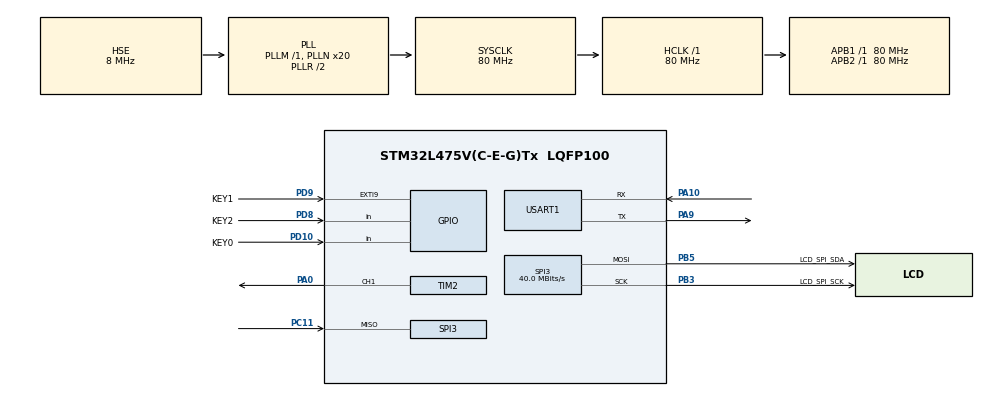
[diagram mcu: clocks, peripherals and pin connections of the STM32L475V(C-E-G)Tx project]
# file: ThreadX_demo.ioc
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Mcu.Family=STM32L4
Mcu.Name=STM32L475V(C-E-G)Tx
Mcu.Package=LQFP100
NVIC.EXTI9_5_IRQn=true\:1\:3\:true\:false\:true\:true\:true
NVIC.PriorityGroup=NVIC_PRIORITYGROUP_1
NVIC.TIM1_UP_TIM16_IRQn=true\:0\:0\:false\:false\:true\:true\:true
NVIC.TIM3_IRQn=true\:0\:0\:false\:false\:true\:true\:true
PA0.Signal=S_TIM2_CH1
PA10.Mode=Asynchronous
PA10.Signal=USART1_RX
PA13\ (JTMS-SWDIO).Mode=Serial_Wire
PA13\ (JTMS-SWDIO).Signal=SYS_JTMS-SWDIO
PA14\ (JTCK-SWCLK).Mode=Serial_Wire
PA14\ (JTCK-SWCLK).Signal=SYS_JTCK-SWCLK
PA9.Mode=Asynchronous
PA9.Signal=USART1_TX
PB3\ (JTDO-TRACESWO).GPIO_Label=LCD_SPI_SCK
PB3\ (JTDO-TRACESWO).Mode=Full_Duplex_Master
PB3\ (JTDO-TRACESWO).Signal=SPI3_SCK
PB5.GPIO_Label=LCD_SPI_SDA
PB5.Mode=Full_Duplex_Master
PB5.Signal=SPI3_MOSI
PC11.Mode=Full_Duplex_Master
PC11.Signal=SPI3_MISO
PD10.GPIO_Label=KEY0
PD10.GPIO_PuPd=GPIO_PULLUP
PD10.Signal=GPIO_Input
PD8.GPIO_Label=KEY2
PD8.GPIO_PuPd=GPIO_PULLUP
PD8.Signal=GPIO_Input
PD9.GPIO_Label=KEY1
PD9.GPIO_ModeDefaultEXTI=GPIO_MODE_IT_FALLING
PD9.GPIO_PuPd=GPIO_PULLUP
PD9.Signal=GPXTI9
PH0-OSC_IN\ (PH0).Mode=HSE-External-Oscillator
PH0-OSC_IN\ (PH0).Signal=RCC_OSC_IN
PH1-OSC_OUT\ (PH1).Mode=HSE-External-Oscillator
PH1-OSC_OUT\ (PH1).Signal=RCC_OSC_OUT
ProjectManager.HeapSize=0x200
ProjectManager.StackSize=0x400
ProjectManager.TargetToolchain=STM32CubeIDE
RCC.ADCFreq_Value=32000000
RCC.AHBFreq_Value=80000000
RCC.APB1Freq_Value=80000000
RCC.APB1TimFreq_Value=80000000
RCC.APB2Freq_Value=80000000
RCC.APB2TimFreq_Value=80000000
RCC.CortexFreq_Value=80000000
RCC.HCLKFreq_Value=80000000
RCC.HSE_VALUE=8000000
RCC.HSI_VALUE=16000000
RCC.LSE_VALUE=32768
RCC.MSI_VALUE=4000000
RCC.PLLN=20
RCC.PLLSourceVirtual=RCC_PLLSOURCE_HSE
RCC.SYSCLKFreq_VALUE=80000000
RCC.SYSCLKSource=RCC_SYSCLKSOURCE_PLLCLK
RCC.USBFreq_Value=32000000
RCC.VCOOutputFreq_Value=160000000
SH.S_TIM2_CH1.0=TIM2_CH1,PWM Generation1 CH1
SPI3.CLKPhase=SPI_PHASE_2EDGE
SPI3.CLKPolarity=SPI_POLARITY_HIGH
SPI3.CalculateBaudRate=40.0 MBits/s
SPI3.DataSize=SPI_DATASIZE_8BIT
SPI3.Direction=SPI_DIRECTION_2LINES
SPI3.Mode=SPI_MODE_MASTER
SPI3.VirtualType=VM_MASTER
TIM1.Period=2000-1
TIM1.Prescaler=40000-1
TIM2.Channel-PWM\ Generation1\ CH1=TIM_CHANNEL_1
TIM2.OC1Preload_PWM=ENABLE
TIM2.OCMode_PWM-PWM\ Generation1\ CH1=TIM_OCMODE_COMBINED_PWM1
TIM2.Period=20000-1
TIM2.Prescaler=40000-1
TIM2.Pulse-PWM\ Generation1\ CH1=10000
TIM3.Period=1000-1
TIM3.Prescaler=40000-1
USART1.VirtualMode-Asynchronous=VM_ASYNC
VP_TIM1_VS_ClockSourceINT.Mode=Internal
VP_TIM2_VS_ClockSourceINT.Mode=Internal
VP_TIM3_VS_ClockSourceINT.Mode=Internal
board=custom

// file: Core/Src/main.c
/* USER CODE BEGIN Header */
/**
 ******************************************************************************
 * @file           : main.c
 * @brief          : Main program body
 ******************************************************************************
 * @attention
 *
 * <h2><center>&copy; Copyright (c) 2020 STMicroelectronics.
 * All rights reserved.</center></h2>
 *
 * This software component is licensed by ST under BSD 3-Clause license,
 * the "License"; You may not use this file except in compliance with the
 * License. You may obtain a copy of the License at:
 *                        opensource.org/licenses/BSD-3-Clause
 *
 ******************************************************************************
 */
/* USER CODE END Header */
#include "main.h"
#include "spi.h"
#include "tim.h"
#include "usart.h"
#include "gpio.h"

/* USER CODE BEGIN Includes */
#include "tx_api.h"
/* USER CODE END Includes */

/* USER CODE BEGIN PV */
TX_THREAD my_thread_1;
TX_THREAD my_thread_2;
TX_THREAD trace_thread;
uint8_t pData[] = "=========ThreadX=========\n";
uint8_t pData1[] = "I am thread1 ";
uint8_t pData2[] = "I am thread2 ";

/* Tracex使用 */
/*跟踪缓冲区的内存大小*/
#define trace_buffer_size 64000
/*要保留在跟踪注册表中的应用程序ThreadX对象的数量*/
#define registry_entries 40
UCHAR trace_buffer_start[trace_buffer_size];
UINT trace_status;
/* USER CODE END PV */

void SystemClock_Config(void);

int main(void)
{

	/* MCU Configuration--------------------------------------------------------*/

	/* Reset of all peripherals, Initializes the Flash interface and the Systick. */
	HAL_Init();

	/* Configure the system clock */
	SystemClock_Config();

	/* Initialize all configured peripherals */
	MX_GPIO_Init();
	MX_USART1_UART_Init();
	MX_TIM1_Init();
	MX_TIM2_Init();
	MX_TIM3_Init();
	MX_SPI3_Init();
	/* USER CODE BEGIN 2 */

	tx_kernel_enter(); //threadx 入口

	/* USER CODE END 2 */

	/* Infinite loop */
	while (1)
	{

	}
}

void SystemClock_Config(void)
{
	RCC_OscInitTypeDef RCC_OscInitStruct =
	{ 0 };
	RCC_ClkInitTypeDef RCC_ClkInitStruct =
	{ 0 };
	RCC_PeriphCLKInitTypeDef PeriphClkInit =
	{ 0 };

	/** Initializes the RCC Oscillators according to the specified parameters
	 * in the RCC_OscInitTypeDef structure.
	 */
	RCC_OscInitStruct.OscillatorType = RCC_OSCILLATORTYPE_HSE;
	RCC_OscInitStruct.HSEState = RCC_HSE_ON;
	RCC_OscInitStruct.PLL.PLLState = RCC_PLL_ON;
	RCC_OscInitStruct.PLL.PLLSource = RCC_PLLSOURCE_HSE;
	RCC_OscInitStruct.PLL.PLLM = 1;
	RCC_OscInitStruct.PLL.PLLN = 20;
	RCC_OscInitStruct.PLL.PLLP = RCC_PLLP_DIV7;
	RCC_OscInitStruct.PLL.PLLQ = RCC_PLLQ_DIV2;
	RCC_OscInitStruct.PLL.PLLR = RCC_PLLR_DIV2;
	if (HAL_RCC_OscConfig(&RCC_OscInitStruct) != HAL_OK)
	{
		Error_Handler();
	}
	/** Initializes the CPU, AHB and APB buses clocks
	 */
	RCC_ClkInitStruct.ClockType = RCC_CLOCKTYPE_HCLK | RCC_CLOCKTYPE_SYSCLK
			| RCC_CLOCKTYPE_PCLK1 | RCC_CLOCKTYPE_PCLK2;
	RCC_ClkInitStruct.SYSCLKSource = RCC_SYSCLKSOURCE_PLLCLK;
	RCC_ClkInitStruct.AHBCLKDivider = RCC_SYSCLK_DIV1;
	RCC_ClkInitStruct.APB1CLKDivider = RCC_HCLK_DIV1;
	RCC_ClkInitStruct.APB2CLKDivider = RCC_HCLK_DIV1;

	if (HAL_RCC_ClockConfig(&RCC_ClkInitStruct, FLASH_LATENCY_4) != HAL_OK)
	{
		Error_Handler();
	}
	PeriphClkInit.PeriphClockSelection = RCC_PERIPHCLK_USART1;
	PeriphClkInit.Usart1ClockSelection = RCC_USART1CLKSOURCE_PCLK2;
	if (HAL_RCCEx_PeriphCLKConfig(&PeriphClkInit) != HAL_OK)
	{
		Error_Handler();
	}
	/** Configure the main internal regulator output voltage
	 */
	if (HAL_PWREx_ControlVoltageScaling(PWR_REGULATOR_VOLTAGE_SCALE1) != HAL_OK)
	{
		Error_Handler();
	}
}

/* USER CODE BEGIN 4 */
void thread1_entry(ULONG entry_input)
{

	INT count = 0;
	uint8_t init_data[] = "start now";
	while (1)
	{

		HAL_UART_Transmit(&huart1, pData1, sizeof(pData1), HAL_MAX_DELAY);
		if (count == 0)
		{
			HAL_UART_Transmit(&huart1, init_data, sizeof(init_data),
			HAL_MAX_DELAY);
		}
		count++;
		HAL_GPIO_TogglePin(GPIOE, GPIO_PIN_7 | GPIO_PIN_8);
		tx_thread_sleep(100);
	}
}

void thread2_entry(ULONG entry_input)
{
	INT count = 0;
	while (1)
	{
		HAL_UART_Transmit(&huart1, pData2, sizeof(pData2), HAL_MAX_DELAY);
		if (count == 3)
		{
			/*挂起线程1*/
			tx_thread_suspend(&my_thread_1);
		}
		else if (count == 6)
		{
			/*恢复线程1*/
			tx_thread_resume(&my_thread_1);
		}
		else if (count == 9)
		{
			/*终止线程1*/
			tx_thread_terminate(&my_thread_1);
		}
		else if (count == 12)
		{
			/*重置线程1*/
			tx_thread_reset(&my_thread_1);
			/*恢复线程1*/
			tx_thread_resume(&my_thread_1);
		}
		else if (count == 13)
		{
			/*终止线程1*/
			//tx_thread_terminate(&my_thread_1);
			//tx_thread_terminate(&my_thread_2);
		}
		else
		{
			;
		}
		count++;

		tx_thread_sleep(200);
	}
}

void trace_thread_input(ULONG entry_input)
{

	while (1)
	{
		/*使能追踪*/
		trace_status = tx_trace_enable(&trace_buffer_start, trace_buffer_size, registry_entries);
		if (trace_status == TX_SUCCESS)
		{
			; //使能成功
		}
		if (trace_status == TX_NOT_DONE)
		{
			; //在追踪
		}
		tx_thread_sleep(100);
	}
}

void my_entry_exit_notify(TX_THREAD *thread_ptr, UINT condition)
{
	uint8_t entry_data[] = " thread1-entry ";
	uint8_t exit_data[] = " thread1-exit ";
	/* Determine if the thread was entered or exited. */

	if (condition == TX_THREAD_ENTRY)
	{
		/* Thread entry! */
		HAL_UART_Transmit(&huart1, entry_data, sizeof(pData2), HAL_MAX_DELAY);
	}
	if (condition == TX_THREAD_EXIT)
	{
		/* Thread exit! */
		HAL_UART_Transmit(&huart1, exit_data, sizeof(pData2), HAL_MAX_DELAY);
	}

}

void tx_application_define(void *first_unused_memory)
{

	/*线程1*/
	tx_thread_create(&my_thread_1,	//线程控制块指针
			"my_thread1",//线程名字
			thread1_entry,//线程入口函数
			0,//线程入口参数
			first_unused_memory,//线程的起始地址(这里偷懒,没有进行分配,直接使用未用的起始地址)
			1024,//内存区域大小K
			3,//优先级3  (0~TX_MAX_PRIORITES-1)0  表示最高优先级
			3,//禁用抢占的最高优先级
			TX_NO_TIME_SLICE,//时间切片值范围为 1 ~ 0xFFFF(TX_NO_TIME_SLICE = 0)
			TX_AUTO_START//线程自动启动
			);
	/*线程2*/
	tx_thread_create(&my_thread_2,	//线程控制块指针
			"my_thread2",//线程名字
			thread2_entry,//线程入口函数
			0,//线程入口参数
			first_unused_memory+1024,//线程的起始地址+1024 (-被前面线程用掉了)
			1024,//内存区域大小K
			2,//优先级2 (0~TX_MAX_PRIORITES-1)0  表示最高优先级
			2,//禁用抢占的最高优先级
			TX_NO_TIME_SLICE,//时间切片值范围为 1 ~ 0xFFFF(TX_NO_TIME_SLICE = 0)
			TX_AUTO_START//线程自动启动
			);

	/*trace 线程*/
	tx_thread_create(&trace_thread,	//线程控制块指针
			"trace_thread",//线程名字
			trace_thread_input,//线程入口函数
			0,//线程入口参数
			first_unused_memory+2048, 1024,	//内存区域大小K
			1,//优先级2 (0~TX_MAX_PRIORITES-1)0  表示最高优先级
			1,//禁用抢占的最高优先级
			TX_NO_TIME_SLICE,//时间切片值范围为 1 ~ 0xFFFF(TX_NO_TIME_SLICE = 0)
			TX_AUTO_START//线程自动启动
			);
	/*线程进入和退出时通知*/
	tx_thread_entry_exit_notify(&my_thread_1, my_entry_exit_notify);

}
/* USER CODE END 4 */

void Error_Handler(void)
{
}

/************************ (C) COPYRIGHT STMicroelectronics *****END OF FILE****/
